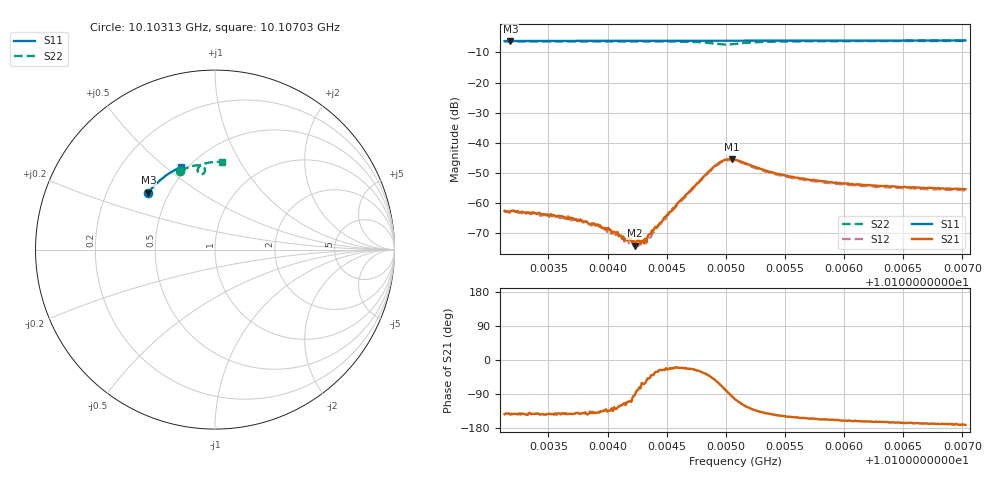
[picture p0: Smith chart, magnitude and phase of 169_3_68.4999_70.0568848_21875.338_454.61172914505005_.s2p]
#  HZ  S  RI  R  50.00
! Rohde & Schwarz Vector Network Analyzer
! Rohde-Schwarz,ZNB20-2Port,1311601062101988,3.16
! Created: UTC 3/20/2024, 5:11:16 PM
! freq[Hz]  re:S11  im:S11  re:S21  im:S21  re:S12  im:S12  re:S22  im:S22
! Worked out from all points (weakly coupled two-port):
!   401 points, 10.10313 GHz to 10.10703 GHz, reference 50 ohm
!   highest |S21| = -45.41 dB at 10.10505 GHz (marker M1); lowest = -74.1 dB at 10.10423 GHz (marker M2)
!   lowest |S11| = -6.2 dB at 10.10318 GHz (marker M3), VSWR 2.91, Z = 19.2 + j16 ohm
!   |S11| at or under -10 dB: nowhere
!   |S22| runs from -7.4 to -6.2 dB; largest |S21 - S12| = 0.00056
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1.0103129e10  -0.3733 0.3149  -0.000595 -0.000449  -0.000539 -0.000501  -0.1923 0.4405
1.0103178e10  -0.3714 0.3171  -0.000592 -0.000425  -0.000536 -0.000478  -0.1894 0.4419
1.0103596e10  -0.3553 0.337  -0.000474 -0.000386  -0.00042 -0.000379  -0.1634 0.453
1.0103782e10  -0.3478 0.3454  -0.000393 -0.000323  -0.000377 -0.000325  -0.1514 0.4576
1.0103937e10  -0.3413 0.3523  -0.000303 -0.000301  -0.000275 -0.000301  -0.1408 0.4611
1.0104064e10  -0.336 0.3578  -0.000208 -0.000252  -0.000177 -0.00024  -0.132 0.4637
1.0104113e10  -0.3339 0.36  -0.000141 -0.000254  -0.000115 -0.000253  -0.1285 0.4648
1.0104201e10  -0.3303 0.3638  -8.19e-05 -0.00022  -3.3e-05 -0.000217  -0.1219 0.4663
1.010423e10  -0.329 0.3651  -1.03e-05 -0.000197  1.22e-05 -0.000208  -0.1196 0.4668
1.0104317e10  -0.3251 0.3688  0.000125 -0.000226  0.000134 -0.000189  -0.1129 0.4683
1.0104347e10  -0.3237 0.37  0.000199 -0.000226  0.000187 -0.000184  -0.1104 0.4686
1.0104386e10  -0.3222 0.3716  0.000268 -0.000226  0.000265 -0.000192  -0.107 0.4691
1.0104434e10  -0.32 0.3737  0.000394 -0.000201  0.000403 -0.000185  -0.1027 0.4695
1.010461e10  -0.3121 0.3807  0.00101 -0.000378  0.000984 -0.000293  -0.0856 0.4694
1.0104892e10  -0.2989 0.3918  0.00256 -0.00294  0.00273 -0.00257  -0.0556 0.4414
1.010497e10  -0.2954 0.3948  0.00167 -0.00474  0.00204 -0.00435  -0.0644 0.424
1.0105048e10  -0.2918 0.3976  -0.000488 -0.00534  2.7e-05 -0.00517  -0.085 0.4226
1.0105077e10  -0.2905 0.3987  -0.00122 -0.0051  -0.000712 -0.00501  -0.0911 0.4268
1.0105428e10  -0.2738 0.4117  -0.00257 -0.00175  -0.0023 -0.00192  -0.0771 0.4711
1.010573e10  -0.2587 0.4222  -0.00218 -0.00104  -0.00197 -0.00118  -0.0525 0.4806
1.0106383e10  -0.225 0.443  -0.00183 -0.000494  -0.00168 -0.00066  -0.00581 0.4878
1.0107026e10  -0.1902 0.4604  -0.00169 -0.000258  -0.00157 -0.00042  0.0371 0.4883
